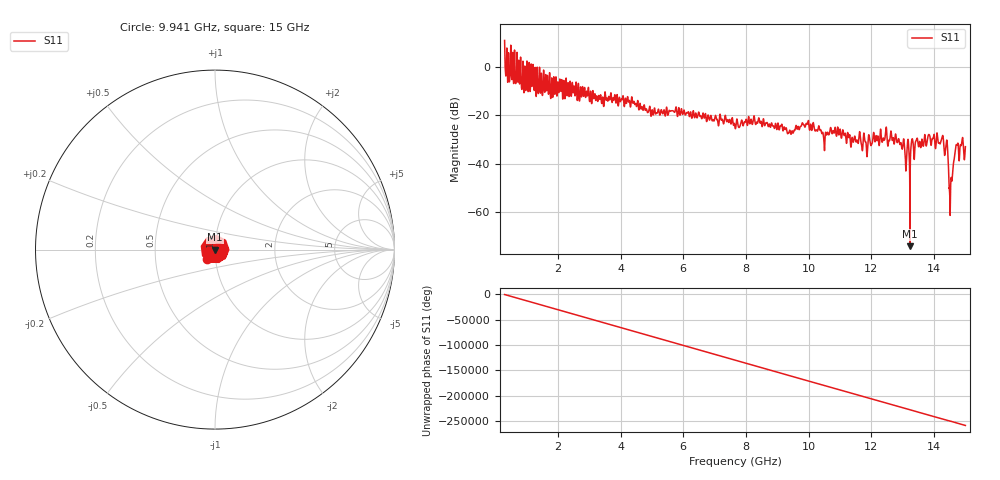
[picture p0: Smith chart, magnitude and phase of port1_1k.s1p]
# GHZ S RI R 50.0
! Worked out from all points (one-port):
!   12801 points, 300 MHz to 15 GHz, reference 50 ohm
!   lowest |S11| = -73.9 dB at 13.23 GHz (marker M1), VSWR 1.00, Z = 50 - j0.011 ohm
!   |S11| at or under -10 dB: 2.862 GHz to 2.961 GHz (98.47 MHz wide, 3.38 % of centre); 3.044 GHz to 3.111 GHz (66.85 MHz wide, 2.17 % of centre); 3.119 GHz to end of sweep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
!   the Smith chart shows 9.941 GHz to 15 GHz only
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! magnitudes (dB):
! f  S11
! 300 MHz  10.9
! 399.9 MHz  -6.2
! 751.3 MHz  2.8
! 909.8 MHz  -9.9
! 1.146 GHz  1.0
! 1.313 GHz  -11.4
! 2.138 GHz  -10.2
! 3.975 GHz  -13.5
! 5.012 GHz  -17.9
! 5.812 GHz  -20.4
! 7.65 GHz  -25.0
! 8.216 GHz  -23.2
! 9.488 GHz  -26.8
! 9.937 GHz  -23.4
! 10.47 GHz  -28.3
! 10.87 GHz  -28.0
! 11.32 GHz  -29.8
! 11.84 GHz  -34.0
! 12.43 GHz  -29.5
! 12.82 GHz  -31.1
! 13.16 GHz  -30.2
! 13.23 GHz  -73.9
! 13.47 GHz  -29.8
! 14.24 GHz  -29.7
! 14.39 GHz  -31.7
! 14.53 GHz  -47.6
! 14.71 GHz  -32.1
! 15 GHz  -32.9
